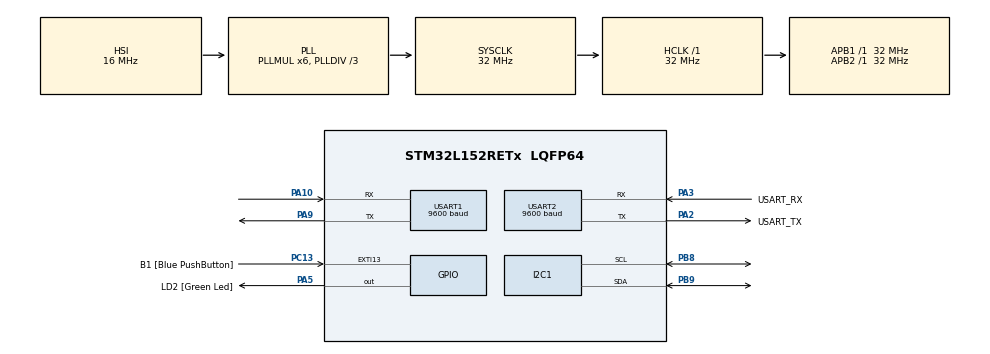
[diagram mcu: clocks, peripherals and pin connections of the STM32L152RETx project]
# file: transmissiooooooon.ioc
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Mcu.Family=STM32L1
Mcu.Name=STM32L152RETx
Mcu.Package=LQFP64
NVIC.PriorityGroup=NVIC_PRIORITYGROUP_0
PA10.Mode=Asynchronous
PA10.Signal=USART1_RX
PA13.GPIO_Label=TMS
PA13.Mode=Serial_Wire
PA13.Signal=SYS_JTMS-SWDIO
PA14.GPIO_Label=TCK
PA14.Mode=Serial_Wire
PA14.Signal=SYS_JTCK-SWCLK
PA2.GPIO_Label=USART_TX
PA2.Mode=Asynchronous
PA2.Signal=USART2_TX
PA3.GPIO_Label=USART_RX
PA3.Mode=Asynchronous
PA3.Signal=USART2_RX
PA5.GPIO_Label=LD2 [Green Led]
PA5.Signal=GPIO_Output
PA9.Mode=Asynchronous
PA9.Signal=USART1_TX
PB3.GPIO_Label=SWO
PB3.Signal=SYS_JTDO-TRACESWO
PB8.Mode=I2C
PB8.Signal=I2C1_SCL
PB9.Mode=I2C
PB9.Signal=I2C1_SDA
PC13-WKUP2.GPIO_Label=B1 [Blue PushButton]
PC13-WKUP2.Signal=GPXTI13
PC14-OSC32_IN.Mode=LSE-External-Oscillator
PC14-OSC32_IN.Signal=RCC_OSC32_IN
PC15-OSC32_OUT.Mode=LSE-External-Oscillator
PC15-OSC32_OUT.Signal=RCC_OSC32_OUT
PH0-OSC_IN.Mode=HSE-External-Clock-Source
PH0-OSC_IN.Signal=RCC_OSC_IN
PH1-OSC_OUT.Signal=RCC_OSC_OUT
ProjectManager.HeapSize=0x200
ProjectManager.StackSize=0x400
ProjectManager.TargetToolchain=STM32CubeIDE
RCC.48MHZClocksFreq_Value=48000000
RCC.AHBFreq_Value=32000000
RCC.APB1Freq_Value=32000000
RCC.APB1TimFreq_Value=32000000
RCC.APB2Freq_Value=32000000
RCC.APB2TimFreq_Value=32000000
RCC.HCLKFreq_Value=32000000
RCC.HSE_VALUE=8000000
RCC.HSI_VALUE=16000000
RCC.MSI_VALUE=2097000
RCC.PLLDIV=RCC_PLL_DIV3
RCC.PLLMUL=RCC_PLL_MUL6
RCC.RTCClockSelectionVirtual=RCC_RTCCLKSOURCE_LSE
RCC.SYSCLKFreq_VALUE=32000000
RCC.SYSCLKSource=RCC_SYSCLKSOURCE_PLLCLK
RCC.USBOutput=48000000
RCC.VCOOutputFreq_Value=96000000
USART1.BaudRate=9600
USART1.VirtualMode=VM_ASYNC
USART2.BaudRate=9600
USART2.VirtualMode=VM_ASYNC
board=NUCLEO-L152RE

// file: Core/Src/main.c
/* USER CODE BEGIN Header */
/**
  **************************
  * @file           : main.c
  * @brief          : Main program body
  **************************
  * @attention
  *
  * Copyright (c) 2024 STMicroelectronics.
  * All rights reserved.²
  *
  * This software is licensed under terms that can be found in the LICENSE file
  * in the root directory of this software component.
  * If no LICENSE file comes with this software, it is provided AS-IS.
  *
  **************************
  */
/* USER CODE END Header */
#include "main.h"
#include "i2c.h"
#include "usart.h"
#include "gpio.h"

/* USER CODE BEGIN Includes */
#include "lib_lcd.h"

/* USER CODE END Includes */

/* USER CODE BEGIN PTD */

//#define MODE_TRANSMITTER 0
//#define MODE_RECEIVER 1

/* USER CODE END PTD */

/* USER CODE BEGIN PV */
static const uint8_t CAPTEUR_ADRS = 0x44 << 1;
static const uint8_t CAPTEUR_CMD_MSB = 0x24;
static const uint8_t CAPTEUR_CMD_LSB = 0x16;
static rgb_lcd lcdData;
/* USER CODE END PV */

void SystemClock_Config(void);

/* USER CODE BEGIN 0 */

char receivedData[1000]; // Pour stocker le caractère reçu

/* USER CODE END 0 */

int main(void)
{
  /* USER CODE BEGIN 1 */
	HAL_StatusTypeDef ret;
		uint8_t buf[12];
		volatile uint16_t valeur;
		volatile uint16_t valeur2;
		volatile float temp;
		float umid;
		float partieDecimal;
		float partieEntiere;
		float partieDecimal2;
		float partieEntiere2;
  /* USER CODE END 1 */

  /* MCU Configuration--------------------------------------------------------*/

  /* Reset of all peripherals, Initializes the Flash interface and the Systick. */
  HAL_Init();

  /* Configure the system clock */
  SystemClock_Config();

  /* Initialize all configured peripherals */
  MX_GPIO_Init();
  MX_USART2_UART_Init();
  MX_I2C1_Init();
  MX_USART1_UART_Init();
  /* USER CODE BEGIN 2 */
 lcd_init(&hi2c1, &lcdData); // initialise le lcd
  lcd_position(&hi2c1,0,0);
  //lcd_print(&hi2c1,"mongo");
  reglagecouleur(0,0,255);

  // Transmit command at to LoRa module
         char dataToSend[] = "AT\r"; // Tableau d'octets à envoyer

  	   	  HAL_UART_Transmit(&huart1, (uint8_t*)dataToSend, strlen(dataToSend), 1000);
  	  // Attente de la réponse à la première commande
  	     HAL_UART_Receive(&huart1, (uint8_t*)receivedData, sizeof(receivedData), 1000);

  	     // Transmission de la réponse reçue à une autre UART (si nécessaire)
  	     HAL_UART_Transmit(&huart2, (uint8_t*)receivedData, strlen(receivedData), 1000);
/*
  	     // Envoi de la deuxième commande "AT+ID"
  	     char secondCommand[] = "AT+ID\r";
  	     HAL_UART_Transmit(&huart1, (uint8_t*)secondCommand, strlen(secondCommand), 1000);

  	     // Attente de la réponse à la deuxième commande (si nécessaire)
  	     HAL_UART_Receive(&huart1, (uint8_t*)receivedData, sizeof(receivedData), 1000);
  	   // Transmission de la réponse reçue à une autre UART (si nécessaire)
  	     HAL_UART_Transmit(&huart2, (uint8_t*)receivedData, strlen(receivedData), 1000);
*/

  	   // Envoi de la 3ème commande "AT+MODE"
  	    char thirdCommand[] = "AT+MODE=TEST\r";
  	    HAL_UART_Transmit(&huart1, (uint8_t*)thirdCommand, strlen(thirdCommand), 1000);

  	    // Attente de la réponse à la 3ième commande (si nécessaire)
  	    HAL_UART_Receive(&huart1, (uint8_t*)receivedData, sizeof(receivedData), 1000);
  	    // Transmission de la réponse reçue à une autre UART (si nécessaire)
  	    HAL_UART_Transmit(&huart2, (uint8_t*)receivedData, strlen(receivedData), 1000);

  /* USER CODE END 2 */

  /* Infinite loop */
  /* USER CODE BEGIN WHILE */
  while (1)
  {

	  buf[0] = CAPTEUR_CMD_MSB;
	  		buf[1] = CAPTEUR_CMD_LSB;
	  		ret = HAL_I2C_Master_Transmit( &hi2c1, CAPTEUR_ADRS, buf, 2, HAL_MAX_DELAY);
	  		if ( ret != HAL_OK)
	  		{
	  			strcpy((char*)buf, "erreur_T!!\r\n");
	  		}
	  			else
	  		{

	  		ret = HAL_I2C_Master_Receive( &hi2c1, CAPTEUR_ADRS, buf, 6, HAL_MAX_DELAY);
	  					if ( ret != HAL_OK)
	  				{
	  					strcpy((char*)buf, "erreur_R!!\r\n");
	  				}
	  		else
	  		{

	  			valeur  =   buf[1] | buf[0] << 8;

	  			temp = -45 + 175 * ( (float)valeur / 65535);

	  			partieEntiere = (int) temp;
	  			partieDecimal = temp;
	  			partieDecimal *= 100;
	  			partieDecimal = partieDecimal - (partieEntiere * 100);

	  			valeur = buf[4] | buf[3] << 8;

	  			umid = 100*( (float)valeur / 65535);

	  			sprintf( (char*)buf, "%u.%u C ; %u  ", (unsigned int) partieEntiere,(unsigned int) partieDecimal,(unsigned int) umid  );
	  			lcd_position(&hi2c1,0,0);
	  			lcd_print(&hi2c1,"Temp :  ");
	  			lcd_position(&hi2c1,7,0);
	  			lcd_print(&hi2c1,buf);
	  			lcd_position(&hi2c1,0,1);
	  			lcd_print(&hi2c1,"Hum  : ");
	  			lcd_position(&hi2c1,7,1);
	  			lcd_print(&hi2c1,&buf[10]);

	  		}

	  		}

	  		HAL_UART_Transmit(&huart2, buf, strlen((char*)buf), HAL_MAX_DELAY);
	  		HAL_Delay(1000);

	  // Envoi de la commande  AT+TEST=TXLRSTR (ascii) pour envoyer un message
	 //                        AT+TEST=TXLRPKT (hexa)
	    	  //char sendCommand[] = "AT+TEST=TXLRPKT AC1234 %s\r";
	  		/*************************************************************************/
	  		 // Conversion de la partie entière de la température en chaîne de caractères
	  		        char temperatureString[10]; // Assez grand pour stocker la température sous forme de chaîne
	  		      char UmidString[10]; // Assez grand pour stocker la umidité sous forme de chaîne
	  		        snprintf(temperatureString, sizeof(temperatureString), "%u%u", (unsigned int)partieEntiere,(unsigned int)partieDecimal);
	  		      snprintf(UmidString, sizeof(temperatureString), "%u",(unsigned int)umid);
	  		        // Construction de la commande à envoyer avec la température
	  		        char sendCommand[30]; // Assez grand pour contenir toute la commande
	  		        snprintf(sendCommand, sizeof(sendCommand), "AT+TEST=TXLRPKT AA%s%sAA \r", temperatureString,UmidString);

	  		/***************************************************************************/

	    	  HAL_UART_Transmit(&huart1, (uint8_t*)sendCommand, strlen(sendCommand), 1000);

	    	  // Attente de la réponse à la 5ème commande (si nécessaire)
	    	  HAL_UART_Receive(&huart1, (uint8_t*)receivedData, sizeof(receivedData), 1000);
	    	  // Transmission de la réponse reçue à une autre UART (si nécessaire)
	    	  HAL_UART_Transmit(&huart2, (uint8_t*)receivedData, strlen(receivedData), 1000);
	    //	  HAL_Delay(2000);
    /* USER CODE END WHILE */

  }
}

void SystemClock_Config(void)
{
  RCC_OscInitTypeDef RCC_OscInitStruct = {0};
  RCC_ClkInitTypeDef RCC_ClkInitStruct = {0};

  /** Configure the main internal regulator output voltage
  */
  __HAL_PWR_VOLTAGESCALING_CONFIG(PWR_REGULATOR_VOLTAGE_SCALE1);

  /** Initializes the RCC Oscillators according to the specified parameters
  * in the RCC_OscInitTypeDef structure.
  */
  RCC_OscInitStruct.OscillatorType = RCC_OSCILLATORTYPE_HSI;
  RCC_OscInitStruct.HSIState = RCC_HSI_ON;
  RCC_OscInitStruct.HSICalibrationValue = RCC_HSICALIBRATION_DEFAULT;
  RCC_OscInitStruct.PLL.PLLState = RCC_PLL_ON;
  RCC_OscInitStruct.PLL.PLLSource = RCC_PLLSOURCE_HSI;
  RCC_OscInitStruct.PLL.PLLMUL = RCC_PLL_MUL6;
  RCC_OscInitStruct.PLL.PLLDIV = RCC_PLL_DIV3;
  if (HAL_RCC_OscConfig(&RCC_OscInitStruct) != HAL_OK)
  {
    Error_Handler();
  }

  /** Initializes the CPU, AHB and APB buses clocks
  */
  RCC_ClkInitStruct.ClockType = RCC_CLOCKTYPE_HCLK|RCC_CLOCKTYPE_SYSCLK
                              |RCC_CLOCKTYPE_PCLK1|RCC_CLOCKTYPE_PCLK2;
  RCC_ClkInitStruct.SYSCLKSource = RCC_SYSCLKSOURCE_PLLCLK;
  RCC_ClkInitStruct.AHBCLKDivider = RCC_SYSCLK_DIV1;
  RCC_ClkInitStruct.APB1CLKDivider = RCC_HCLK_DIV1;
  RCC_ClkInitStruct.APB2CLKDivider = RCC_HCLK_DIV1;

  if (HAL_RCC_ClockConfig(&RCC_ClkInitStruct, FLASH_LATENCY_1) != HAL_OK)
  {
    Error_Handler();
  }
}

void Error_Handler(void)
{
  __disable_irq();
  while (1)
  {
  }
}
